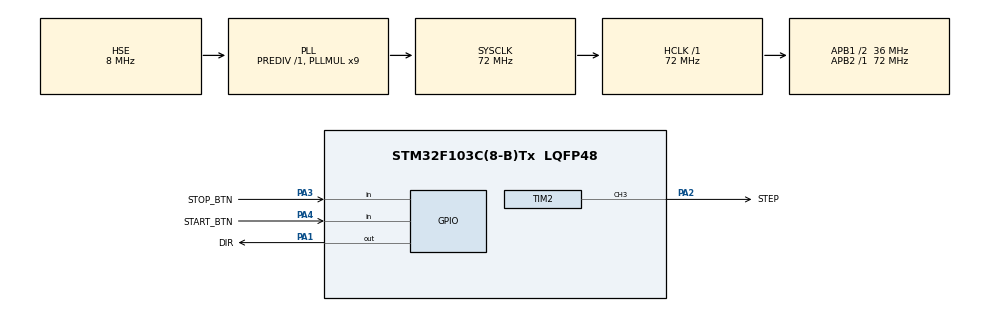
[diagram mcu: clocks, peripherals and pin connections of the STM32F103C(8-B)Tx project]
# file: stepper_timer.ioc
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Mcu.Family=STM32F1
Mcu.Name=STM32F103C(8-B)Tx
Mcu.Package=LQFP48
NVIC.PriorityGroup=NVIC_PRIORITYGROUP_4
PA1.GPIO_Label=DIR
PA1.GPIO_Speed=GPIO_SPEED_FREQ_LOW
PA1.PinState=GPIO_PIN_RESET
PA1.Signal=GPIO_Output
PA13.Mode=Serial_Wire
PA13.Signal=SYS_JTMS-SWDIO
PA14.Mode=Serial_Wire
PA14.Signal=SYS_JTCK-SWCLK
PA2.GPIO_Label=STEP
PA2.GPIO_Speed=GPIO_SPEED_FREQ_HIGH
PA2.Signal=S_TIM2_CH3
PA3.GPIO_Label=STOP_BTN
PA3.GPIO_PuPd=GPIO_PULLUP
PA3.Signal=GPIO_Input
PA4.GPIO_Label=START_BTN
PA4.GPIO_PuPd=GPIO_PULLUP
PA4.Signal=GPIO_Input
PD0-OSC_IN.Mode=HSE-External-Oscillator
PD0-OSC_IN.Signal=RCC_OSC_IN
PD1-OSC_OUT.Mode=HSE-External-Oscillator
PD1-OSC_OUT.Signal=RCC_OSC_OUT
ProjectManager.HeapSize=0x200
ProjectManager.StackSize=0x400
ProjectManager.TargetToolchain=STM32CubeIDE
RCC.AHBFreq_Value=72000000
RCC.APB1CLKDivider=RCC_HCLK_DIV2
RCC.APB1Freq_Value=36000000
RCC.APB1TimFreq_Value=72000000
RCC.APB2Freq_Value=72000000
RCC.APB2TimFreq_Value=72000000
RCC.HCLKFreq_Value=72000000
RCC.PLLMUL=RCC_PLL_MUL9
RCC.PLLSourceVirtual=RCC_PLLSOURCE_HSE
RCC.SYSCLKFreq_VALUE=72000000
RCC.SYSCLKSource=RCC_SYSCLKSOURCE_PLLCLK
RCC.USBFreq_Value=72000000
SH.S_TIM2_CH3.0=TIM2_CH3,PWM Generation3 CH3
TIM2.AutoReloadPreload=TIM_AUTORELOAD_PRELOAD_ENABLE
TIM2.Channel-PWM\ Generation3\ CH3=TIM_CHANNEL_3
TIM2.Period=2000-1
TIM2.Prescaler=71
TIM2.Pulse-PWM\ Generation3\ CH3=1000
board=custom

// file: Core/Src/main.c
/* USER CODE BEGIN Header */
/**
  ******************************************************************************
  * @file           : main.c
  * @brief          : Main program body
  ******************************************************************************
  * @attention
  *
  * Copyright (c) 2025 STMicroelectronics.
  * All rights reserved.
  *
  * This software is licensed under terms that can be found in the LICENSE file
  * in the root directory of this software component.
  * If no LICENSE file comes with this software, it is provided AS-IS.
  *
  ******************************************************************************
  */
/* USER CODE END Header */
#include "main.h"
#include "tim.h"
#include "gpio.h"

void SystemClock_Config(void);
/* USER CODE BEGIN PFP */
static void step_set_period_us(uint32_t d_us);
static uint8_t button_pressed(GPIO_TypeDef* port, uint16_t pin);
static void wait_press_and_release(GPIO_TypeDef* port, uint16_t pin);
static void run_until_stop_with_ramp(uint32_t d_start, uint32_t d_target, uint32_t ramp_ms); // ← NUEVO
static void run_until_stop_scurve_freq(uint32_t d_start, uint32_t d_target, uint32_t ramp_ms);
/* USER CODE END PFP */

int main(void)
{

  /* MCU Configuration--------------------------------------------------------*/

  /* Reset of all peripherals, Initializes the Flash interface and the Systick. */
  HAL_Init();

  /* Configure the system clock */
  SystemClock_Config();

  /* Initialize all configured peripherals */
  MX_GPIO_Init();
  MX_TIM2_Init();

  /* Infinite loop */
  /* USER CODE BEGIN WHILE */
  while (1)
  {
	  wait_press_and_release(START_BTN_GPIO_Port, START_BTN_Pin);
	  HAL_GPIO_WritePin(DIR_GPIO_Port, DIR_Pin, GPIO_PIN_SET);
	  step_set_period_us(3000);                      // d_start seguro
	  __HAL_TIM_SET_COUNTER(&htim2, 0);
	  HAL_TIM_PWM_Start(&htim2, TIM_CHANNEL_3);
	  run_until_stop_scurve_freq(3000, 400, 1500);   // ↑ probá 1200–2000 ms para más “progresivo”
	  HAL_TIM_PWM_Stop(&htim2, TIM_CHANNEL_3);
    /* USER CODE END WHILE */

  }
}

void SystemClock_Config(void)
{
  RCC_OscInitTypeDef RCC_OscInitStruct = {0};
  RCC_ClkInitTypeDef RCC_ClkInitStruct = {0};

  /** Initializes the RCC Oscillators according to the specified parameters
  * in the RCC_OscInitTypeDef structure.
  */
  RCC_OscInitStruct.OscillatorType = RCC_OSCILLATORTYPE_HSE;
  RCC_OscInitStruct.HSEState = RCC_HSE_ON;
  RCC_OscInitStruct.HSEPredivValue = RCC_HSE_PREDIV_DIV1;
  RCC_OscInitStruct.HSIState = RCC_HSI_ON;
  RCC_OscInitStruct.PLL.PLLState = RCC_PLL_ON;
  RCC_OscInitStruct.PLL.PLLSource = RCC_PLLSOURCE_HSE;
  RCC_OscInitStruct.PLL.PLLMUL = RCC_PLL_MUL9;
  if (HAL_RCC_OscConfig(&RCC_OscInitStruct) != HAL_OK)
  {
    Error_Handler();
  }

  /** Initializes the CPU, AHB and APB buses clocks
  */
  RCC_ClkInitStruct.ClockType = RCC_CLOCKTYPE_HCLK|RCC_CLOCKTYPE_SYSCLK
                              |RCC_CLOCKTYPE_PCLK1|RCC_CLOCKTYPE_PCLK2;
  RCC_ClkInitStruct.SYSCLKSource = RCC_SYSCLKSOURCE_PLLCLK;
  RCC_ClkInitStruct.AHBCLKDivider = RCC_SYSCLK_DIV1;
  RCC_ClkInitStruct.APB1CLKDivider = RCC_HCLK_DIV2;
  RCC_ClkInitStruct.APB2CLKDivider = RCC_HCLK_DIV1;

  if (HAL_RCC_ClockConfig(&RCC_ClkInitStruct, FLASH_LATENCY_2) != HAL_OK)
  {
    Error_Handler();
  }
}

/* USER CODE BEGIN 4 */
// Ajusta período (y 50% de duty) sin bloquear: periodo = 2*d_us
// Acelera linealmente de d_start -> d_target en ramp_ms (ms), mantiene crucero,
// y frena simétrico (d_target -> d_start en ramp_ms) cuando se presiona STOP.
static void run_until_stop_with_ramp(uint32_t d_start, uint32_t d_target, uint32_t ramp_ms)
{
  if (d_start < 2) d_start = 2;
  if (d_target < 2) d_target = 2;
  if (ramp_ms == 0) ramp_ms = 1;

  // --- ACELERACIÓN: d = d_start -> d_target en ramp_ms ---
  uint32_t t0 = HAL_GetTick();
  while (1) {
    // ¿se pidió STOP? (pull-up: 0 = presionado) — si sí, saltá a frenar
    if (HAL_GPIO_ReadPin(STOP_BTN_GPIO_Port, STOP_BTN_Pin) == GPIO_PIN_RESET) break;

    uint32_t elapsed = HAL_GetTick() - t0;
    if (elapsed >= ramp_ms) {
      step_set_period_us(d_target);   // alcanzó la meta
      break;
    } else {
      // Interpolación entera: d = d_start - (d_start - d_target) * (elapsed / ramp_ms)
      int32_t delta = (int32_t)d_start - (int32_t)d_target;
      uint32_t d = d_start - (uint32_t)((delta * (int32_t)elapsed) / (int32_t)ramp_ms);
      step_set_period_us(d);
    }
    // Pequeño respiro (no crítico, el timer sigue generando STEP solo)
    HAL_Delay(1);
  }

  // --- CRUCERO: fijo en d_target hasta STOP ---
  while (HAL_GPIO_ReadPin(STOP_BTN_GPIO_Port, STOP_BTN_Pin) != GPIO_PIN_RESET) {
    HAL_Delay(1); // hacé otras tareas aquí; esto es solo "demo"
  }

  // debounce simple de STOP y esperar soltar
  HAL_Delay(20);
  while (HAL_GPIO_ReadPin(STOP_BTN_GPIO_Port, STOP_BTN_Pin) == GPIO_PIN_RESET) { HAL_Delay(5); }
  HAL_Delay(20);

  // --- FRENADO: d = d_target -> d_start en ramp_ms ---
  t0 = HAL_GetTick();
  while (1) {
    uint32_t elapsed = HAL_GetTick() - t0;
    if (elapsed >= ramp_ms) {
      step_set_period_us(d_start);
      break;
    } else {
      int32_t delta = (int32_t)d_start - (int32_t)d_target;  // mismo delta
      uint32_t d = d_target + (uint32_t)((delta * (int32_t)elapsed) / (int32_t)ramp_ms);
      step_set_period_us(d);
    }
    HAL_Delay(1);
  }
}

static void step_set_period_us(uint32_t d_us)
{
  if (d_us < 2) d_us = 2;                    // asegura tiempos alto/bajo mínimos
  uint32_t arr = 2U * d_us - 1U;             // ARR+1 = 2*d_us  (1 tick = 1us)
  __HAL_TIM_SET_AUTORELOAD(&htim2, arr);
  __HAL_TIM_SET_COMPARE(&htim2, TIM_CHANNEL_3, d_us);  // 50%
  HAL_TIM_GenerateEvent(&htim2, TIM_EVENTSOURCE_UPDATE); // aplica ya
}

// Devuelve 1 si detecta pulsación estable (pull-up: 0 = presionado)
static uint8_t button_pressed(GPIO_TypeDef* port, uint16_t pin)
{
  if (HAL_GPIO_ReadPin(port, pin) == GPIO_PIN_RESET) {
    HAL_Delay(20); // debounce
    if (HAL_GPIO_ReadPin(port, pin) == GPIO_PIN_RESET) return 1;
  }
  return 0;
}

// Espera presionar y soltar el botón, ambas con debounce
static void wait_press_and_release(GPIO_TypeDef* port, uint16_t pin)
{
  while (!button_pressed(port, pin)) { HAL_Delay(5); }         // esperar PRESION
  while (HAL_GPIO_ReadPin(port, pin) == GPIO_PIN_RESET) { HAL_Delay(5); } // esperar SOLTAR
  HAL_Delay(20);
}

static void step_set_freq_hz(float f_hz){
  if (f_hz < 1.0f) f_hz = 1.0f;
  float d_us_f = 1e6f / (2.0f * f_hz);           // T = 1/f → d_us = T/2
  uint32_t d_us = (uint32_t)(d_us_f + 0.5f);
  step_set_period_us(d_us);
}

// Suavizado cúbico (S-curve): 0→1 con jerk ~0 en extremos
static float scurve(float u){
  if (u <= 0.f) return 0.f;
  if (u >= 1.f) return 1.f;
  return u*u*(3.f - 2.f*u);
}

static void run_until_stop_scurve_freq(uint32_t d_start, uint32_t d_target, uint32_t ramp_ms)
{
  if (d_start < 2) d_start = 2;
  if (d_target < 2) d_target = 2;
  if (ramp_ms == 0) ramp_ms = 1;

  // Convierte tus d_us a frecuencias (steps/s)
  float f_start  = 1e6f / (2.0f * (float)d_start);
  float f_target = 1e6f / (2.0f * (float)d_target);

  // --- Aceleración: f = S-curve(f_start→f_target) ---
  uint32_t t0 = HAL_GetTick();
  while (1) {
    if (HAL_GPIO_ReadPin(STOP_BTN_GPIO_Port, STOP_BTN_Pin) == GPIO_PIN_RESET) break;
    uint32_t elapsed = HAL_GetTick() - t0;
    float u = (elapsed >= ramp_ms) ? 1.0f : (elapsed / (float)ramp_ms);
    float f_now = f_start + (f_target - f_start) * scurve(u);
    step_set_freq_hz(f_now);
    if (elapsed >= ramp_ms) break;
    HAL_Delay(1); // paso de actualización (podés usar 1–2 ms)
  }

  // --- Crucero ---
  while (HAL_GPIO_ReadPin(STOP_BTN_GPIO_Port, STOP_BTN_Pin) != GPIO_PIN_RESET) { HAL_Delay(1); }

  // Debounce STOP
  HAL_Delay(20);
  while (HAL_GPIO_ReadPin(STOP_BTN_GPIO_Port, STOP_BTN_Pin) == GPIO_PIN_RESET) { HAL_Delay(5); }
  HAL_Delay(20);

  // --- Frenado: f = S-curve(f_target→f_start) ---
  t0 = HAL_GetTick();
  while (1) {
    uint32_t elapsed = HAL_GetTick() - t0;
    float u = (elapsed >= ramp_ms) ? 1.0f : (elapsed / (float)ramp_ms);
    float f_now = f_target + (f_start - f_target) * scurve(u);
    step_set_freq_hz(f_now);
    if (elapsed >= ramp_ms) break;
    HAL_Delay(1);
  }
}

/* USER CODE END 4 */

void Error_Handler(void)
{
  __disable_irq();
  while (1)
  {
  }
}
